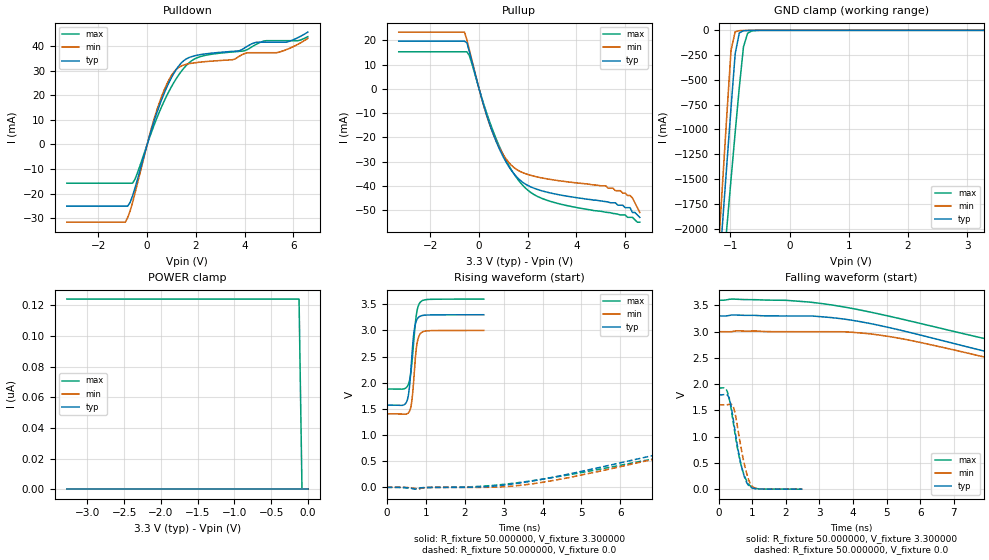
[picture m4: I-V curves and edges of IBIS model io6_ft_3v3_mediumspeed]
| [Disclaimer]  This information is for modeling purpose only and is
| not guaranted. The information is subject to change without
| notice.
| [Copyright] Copyright 2013 STMicroelectronics Inc.
| From stm32g050_051_061_lqfp32_gp.ibs, stm32g0_456_lqfp32_gp, STMicroelectronics
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|   Model io6_ft_3v3_mediumspeed
[Model]  io6_ft_3v3_mediumspeed
Model_type I/O
Polarity   Non-Inverting
Enable   Active-Low
Vinl =   0.990000V
Vinh =   2.310000V
Vmeas =  1.650000V
Cref =   30.000000pF
Rref =   100.000000M
Vref =   0.0V
C_comp   1.290400pF   1.272500pF   1.305600pF
[Temperature Range]   25.000000   -40.000000   0.125000k
[Pullup Reference]   3.300000V   3.000000V   3.600000V
[Pulldown Reference]   0.0V   0.0V   0.0V
[POWER Clamp Reference]   3.300000V   3.000000V   3.600000V
[GND Clamp Reference]   0.0V   0.0V   0.0V
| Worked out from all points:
|   slope of the pulldown table from 0 to 0.495 V, typ, clamps not added: 31.8 ohm
|   slope of the pullup table from 0 to 0.495 V, typ, clamps not added: 30.4 ohm
|   GND clamp passes 1 mA (typ) near -0.65 V on its own axis
|   rising waveform, R_fixture 50.000000, V_fixture 3.300000: 20-80 % time 115ps typ, 109ps min, 129ps max; typ from 1.57 V to 3.3 V
|   rising waveform, R_fixture 50.000000, V_fixture 0.0: 20-80 % time 8.24ns typ, 7.46ns min, 10.1ns max; typ from 0 V to 1.8 V
|   falling waveform, R_fixture 50.000000, V_fixture 3.300000: 20-80 % time 7.53ns typ, 7.45ns min, 8.06ns max; typ from 3.3 V to 1.57 V
|   falling waveform, R_fixture 50.000000, V_fixture 0.0: 20-80 % time 300ps typ, 289ps min, 332ps max; typ from 1.8 V to 0 V
[Pulldown]
|Voltage   I(typ)   I(min)   I(max)
-3.3V     -25.03mA   -31.54mA   -15.7mA
-900mV    -25.03mA   -31.54mA   -15.7mA
-700mV    -23.48mA   -26.96mA   -15.7mA
-500mV    -17.69mA   -19.75mA   -14.07mA
100mV     3.479mA    3.853mA    2.862mA
500mV     15.71mA    16.96mA    13.17mA
900mV     25.22mA    26.33mA    21.66mA
1.3V      31.91mA    31.32mA    28.29mA
2.2V      36.48mA    33.43mA    35.69mA
4.1V      39.78mA    37.21mA    38.43mA
5.4V      41.49mA    37.39mA    42.11mA
6.6V      45.6mA     43.04mA    43.74mA
[Pullup]
|Voltage   I(typ)   I(min)   I(max)
-3.3V     19.64mA    23.39mA    15.26mA
-600mV    19.64mA    23.39mA    15.26mA
-500mV    18.98mA    20.19mA    15.26mA
-400mV    15.37mA    16.06mA    13.73mA
100mV     -3.672mA   -3.825mA   -3.371mA
600mV     -19.12mA   -19.15mA   -18.08mA
1.2V      -31.74mA   -30.12mA   -31.25mA
1.8V      -38.62mA   -34.59mA   -39.87mA
3V        -43.11mA   -37.48mA   -46.63mA
5.8V      -48mA      -42mA      -52mA
6.3V      -51mA      -45mA      -53mA
6.6V      -53mA      -51mA      -55mA
[GND_clamp]
|Voltage   I(typ)   I(min)   I(max)
-3.3V     -9.61A     -9.635A    -9.699A
-1.2V     -2.493A    -2.184A    -2.958A
-1.13V    -1.917A    -1.512A    -2.469A
-1.06V    -1.345A    -845.6mA   -1.983A
-990mV    -779.8mA   -200.2mA   -1.503A
-920mV    -235.5mA   -14.18mA   -1.03A
-850mV    -26.06mA   -3.338mA   -574.2mA
-780mV    -4.499mA   -1.808mA   -166.4mA
-710mV    -1.722mA   -869.6uA   -29.45mA
-640mV    -806.7uA   -283.7uA   -6.281mA
3.28V     0A         0A         0A
[POWER_clamp]
|Voltage   I(typ)   I(min)   I(max)
-3.28V    0A         0A         124nA
-120mV    0A         0A         124nA
-80mV     0A         0A         0A
0V        0A         0A         0A
[Ramp]
| variable   typ   min   max
dV/dt_r  1.07616/8.22317n   0.96378/7.45192n   1.14780/10.09173n
dV/dt_f  1.03266/7.51190n   0.95382/7.43316n   1.02570/8.04372n
R_load = 50.000000
[Rising Waveform]
R_fixture= 50.000000
V_fixture= 3.300000
V_fixture_min= 3.000000
V_fixture_max= 3.600000
|time   V(typ)   V(min)   V(max)
0s        1.571V     1.403V     1.88V
435.4ps   1.575V     1.399V     1.882V
510.5ps   1.635V     1.403V     1.914V
560.6ps   1.779V     1.428V     1.978V
635.6ps   2.387V     1.6V       2.296V
700.7ps   2.968V     2.115V     2.848V
760.8ps   3.181V     2.653V     3.293V
820.8ps   3.253V     2.877V     3.486V
1.036ns   3.295V     2.992V     3.591V
2.492ns   3.3V       3V         3.6V
[Rising Waveform]
R_fixture= 50.000000
V_fixture= 0.0
V_fixture_min= 0.0
V_fixture_max= 0.0
|time   V(typ)   V(min)   V(max)
0s        -4.71uV    -2.045uV   9.435uV
800.8ps   -21.16mV   -33.79mV   -31.29mV
2.402ns   7.388mV    -524.1uV   19.35mV
3.524ns   95.16mV    46.21mV    104.1mV
10.57ns   1.151V     1.065V     1.055V
13.13ns   1.403V     1.295V     1.325V
16.34ns   1.596V     1.457V     1.57V
19.46ns   1.693V     1.535V     1.72V
23.94ns   1.754V     1.581V     1.831V
39.88ns   1.796V     1.607V     1.924V
[Falling Waveform]
R_fixture= 50.000000
V_fixture= 3.300000
V_fixture_min= 3.000000
V_fixture_max= 3.600000
|time   V(typ)   V(min)   V(max)
0s        3.3V       3V         3.6V
2.643ns   3.299V     3V         3.568V
4.725ns   3.128V     2.941V     3.345V
8.408ns   2.551V     2.442V     2.797V
11.29ns   2.14V      2.032V     2.426V
13.53ns   1.907V     1.783V     2.215V
15.7ns    1.778V     1.633V     2.093V
18.42ns   1.695V     1.536V     2.012V
23.22ns   1.628V     1.461V     1.942V
39.88ns   1.571V     1.403V     1.88V
[Falling Waveform]
R_fixture= 50.000000
V_fixture= 0.0
V_fixture_min= 0.0
V_fixture_max= 0.0
|time   V(typ)   V(min)   V(max)
0s        1.796V     1.607V     1.924V
255.3ps   1.796V     1.609V     1.862V
335.3ps   1.683V     1.618V     1.663V
435.4ps   1.333V     1.57V      1.271V
505.5ps   1.041V     1.394V     987.5mV
680.7ps   431.9mV    744.6mV    431.5mV
790.8ps   192.6mV    406.2mV    218.7mV
915.9ps   53.09mV    144.3mV    78.82mV
1.156ns   6.145mV    11.59mV    8.958mV
2.492ns   -4.71uV    -2.045uV   9.435uV
